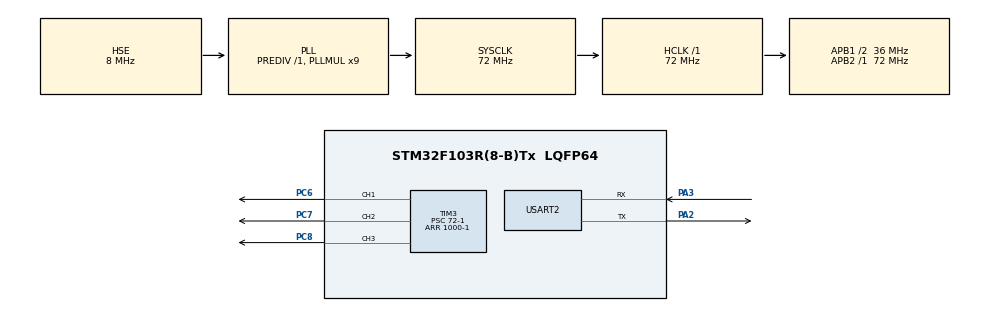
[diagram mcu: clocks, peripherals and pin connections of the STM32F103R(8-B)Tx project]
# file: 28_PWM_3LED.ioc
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Mcu.Family=STM32F1
Mcu.Name=STM32F103R(8-B)Tx
Mcu.Package=LQFP64
NVIC.PriorityGroup=NVIC_PRIORITYGROUP_4
PA2.Mode=Asynchronous
PA2.Signal=USART2_TX
PA3.Mode=Asynchronous
PA3.Signal=USART2_RX
PC14-OSC32_IN.Mode=LSE-External-Oscillator
PC14-OSC32_IN.Signal=RCC_OSC32_IN
PC15-OSC32_OUT.Mode=LSE-External-Oscillator
PC15-OSC32_OUT.Signal=RCC_OSC32_OUT
PC6.Signal=S_TIM3_CH1
PC7.Signal=S_TIM3_CH2
PC8.Signal=S_TIM3_CH3
PD0-OSC_IN.Mode=HSE-External-Clock-Source
PD0-OSC_IN.Signal=RCC_OSC_IN
PD1-OSC_OUT.Mode=HSE-External-Clock-Source
PD1-OSC_OUT.Signal=RCC_OSC_OUT
ProjectManager.HeapSize=0x200
ProjectManager.StackSize=0x400
ProjectManager.TargetToolchain=STM32CubeIDE
RCC.AHBFreq_Value=72000000
RCC.APB1CLKDivider=RCC_HCLK_DIV2
RCC.APB1Freq_Value=36000000
RCC.APB1TimFreq_Value=72000000
RCC.APB2Freq_Value=72000000
RCC.APB2TimFreq_Value=72000000
RCC.HCLKFreq_Value=72000000
RCC.PLLMUL=RCC_PLL_MUL9
RCC.PLLSourceVirtual=RCC_PLLSOURCE_HSE
RCC.SYSCLKFreq_VALUE=72000000
RCC.SYSCLKSource=RCC_SYSCLKSOURCE_PLLCLK
RCC.USBFreq_Value=72000000
SH.S_TIM3_CH1.0=TIM3_CH1,PWM Generation1 CH1
SH.S_TIM3_CH2.0=TIM3_CH2,PWM Generation2 CH2
SH.S_TIM3_CH3.0=TIM3_CH3,PWM Generation3 CH3
TIM3.AutoReloadPreload=TIM_AUTORELOAD_PRELOAD_ENABLE
TIM3.Channel-PWM\ Generation1\ CH1=TIM_CHANNEL_1
TIM3.Channel-PWM\ Generation2\ CH2=TIM_CHANNEL_2
TIM3.Channel-PWM\ Generation3\ CH3=TIM_CHANNEL_3
TIM3.Period=1000-1
TIM3.Prescaler=72-1
USART2.VirtualMode=VM_ASYNC
VP_TIM3_VS_ClockSourceINT.Mode=Internal
board=custom

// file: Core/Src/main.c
/* USER CODE BEGIN Header */
/**
  ******************************************************************************
  * @file           : main.c
  * @brief          : Main program body
  ******************************************************************************
  * @attention
  *
  * Copyright (c) 2023 STMicroelectronics.
  * All rights reserved.
  *
  * This software is licensed under terms that can be found in the LICENSE file
  * in the root directory of this software component.
  * If no LICENSE file comes with this software, it is provided AS-IS.
  *
  ******************************************************************************
  */
/* USER CODE END Header */
#include "main.h"

/* USER CODE BEGIN Includes */
#include <stdio.h>
#include <stdlib.h>
/* USER CODE END Includes */

TIM_HandleTypeDef htim3;

UART_HandleTypeDef huart2;

/* USER CODE BEGIN PV */
uint16_t led_arr, led_ccr1, led_ccr2, led_ccr3;
/* USER CODE END PV */

void SystemClock_Config(void);
static void MX_GPIO_Init(void);
static void MX_TIM3_Init(void);
static void MX_USART2_UART_Init(void);

/* USER CODE BEGIN 0 */
int __io_putchar(int ch) {
   HAL_UART_Transmit(&huart2, (uint8_t *)&ch, 1, 1000);
   if (ch == '\n') {
      HAL_UART_Transmit(&huart2, (uint8_t *)"\r", 1, 1000);
   }
   return ch;
}

void print123_pwm() {
  led_arr = __HAL_TIM_GET_AUTORELOAD(&htim3);
  led_ccr1 = __HAL_TIM_GET_COMPARE(&htim3, TIM_CHANNEL_1);
  led_ccr2 = __HAL_TIM_GET_COMPARE(&htim3, TIM_CHANNEL_2);
  led_ccr3 = __HAL_TIM_GET_COMPARE(&htim3, TIM_CHANNEL_3);
  printf("ARR : %d, CCR1 : %d, CCR2 : %d, CCR3 : %d\n\n", led_arr, led_ccr1, led_ccr2, led_ccr3);
}

/* USER CODE END 0 */

int main(void)
{

  /* MCU Configuration--------------------------------------------------------*/

  /* Reset of all peripherals, Initializes the Flash interface and the Systick. */
  HAL_Init();

  /* Configure the system clock */
  SystemClock_Config();

  /* Initialize all configured peripherals */
  MX_GPIO_Init();
  MX_TIM3_Init();
  MX_USART2_UART_Init();
  /* USER CODE BEGIN 2 */
  HAL_TIM_PWM_Start(&htim3, TIM_CHANNEL_3);
  HAL_TIM_PWM_Start(&htim3, TIM_CHANNEL_2);
  HAL_TIM_PWM_Start(&htim3, TIM_CHANNEL_1);
  /* USER CODE END 2 */

  /* Infinite loop */
  while (1)
  {
	  led_arr = rand()%10000;
	 __HAL_TIM_SET_AUTORELOAD(&htim3, led_arr);
	 uint16_t ch[] = {TIM_CHANNEL_1, TIM_CHANNEL_2, TIM_CHANNEL_3};
	 uint16_t ccr[] = {rand()%led_arr, rand()%led_arr, rand()%led_arr};
	 for(int i = 0; i <3; i++) {
	   __HAL_TIM_SET_COMPARE(&htim3, ch[i], ccr[i]);
	 }
	 print123_pwm();
	 HAL_Delay(1000);
  }
}

void SystemClock_Config(void)
{
  RCC_OscInitTypeDef RCC_OscInitStruct = {0};
  RCC_ClkInitTypeDef RCC_ClkInitStruct = {0};

  /** Initializes the RCC Oscillators according to the specified parameters
  * in the RCC_OscInitTypeDef structure.
  */
  RCC_OscInitStruct.OscillatorType = RCC_OSCILLATORTYPE_HSE;
  RCC_OscInitStruct.HSEState = RCC_HSE_BYPASS;
  RCC_OscInitStruct.HSEPredivValue = RCC_HSE_PREDIV_DIV1;
  RCC_OscInitStruct.HSIState = RCC_HSI_ON;
  RCC_OscInitStruct.PLL.PLLState = RCC_PLL_ON;
  RCC_OscInitStruct.PLL.PLLSource = RCC_PLLSOURCE_HSE;
  RCC_OscInitStruct.PLL.PLLMUL = RCC_PLL_MUL9;
  if (HAL_RCC_OscConfig(&RCC_OscInitStruct) != HAL_OK)
  {
    Error_Handler();
  }

  /** Initializes the CPU, AHB and APB buses clocks
  */
  RCC_ClkInitStruct.ClockType = RCC_CLOCKTYPE_HCLK|RCC_CLOCKTYPE_SYSCLK
                              |RCC_CLOCKTYPE_PCLK1|RCC_CLOCKTYPE_PCLK2;
  RCC_ClkInitStruct.SYSCLKSource = RCC_SYSCLKSOURCE_PLLCLK;
  RCC_ClkInitStruct.AHBCLKDivider = RCC_SYSCLK_DIV1;
  RCC_ClkInitStruct.APB1CLKDivider = RCC_HCLK_DIV2;
  RCC_ClkInitStruct.APB2CLKDivider = RCC_HCLK_DIV1;

  if (HAL_RCC_ClockConfig(&RCC_ClkInitStruct, FLASH_LATENCY_2) != HAL_OK)
  {
    Error_Handler();
  }
}

static void MX_TIM3_Init(void)
{

  TIM_ClockConfigTypeDef sClockSourceConfig = {0};
  TIM_MasterConfigTypeDef sMasterConfig = {0};
  TIM_OC_InitTypeDef sConfigOC = {0};

  htim3.Instance = TIM3;
  htim3.Init.Prescaler = 72-1;
  htim3.Init.CounterMode = TIM_COUNTERMODE_UP;
  htim3.Init.Period = 1000-1;
  htim3.Init.ClockDivision = TIM_CLOCKDIVISION_DIV1;
  htim3.Init.AutoReloadPreload = TIM_AUTORELOAD_PRELOAD_ENABLE;
  if (HAL_TIM_Base_Init(&htim3) != HAL_OK)
  {
    Error_Handler();
  }
  sClockSourceConfig.ClockSource = TIM_CLOCKSOURCE_INTERNAL;
  if (HAL_TIM_ConfigClockSource(&htim3, &sClockSourceConfig) != HAL_OK)
  {
    Error_Handler();
  }
  if (HAL_TIM_PWM_Init(&htim3) != HAL_OK)
  {
    Error_Handler();
  }
  sMasterConfig.MasterOutputTrigger = TIM_TRGO_RESET;
  sMasterConfig.MasterSlaveMode = TIM_MASTERSLAVEMODE_DISABLE;
  if (HAL_TIMEx_MasterConfigSynchronization(&htim3, &sMasterConfig) != HAL_OK)
  {
    Error_Handler();
  }
  sConfigOC.OCMode = TIM_OCMODE_PWM1;
  sConfigOC.Pulse = 0;
  sConfigOC.OCPolarity = TIM_OCPOLARITY_HIGH;
  sConfigOC.OCFastMode = TIM_OCFAST_DISABLE;
  if (HAL_TIM_PWM_ConfigChannel(&htim3, &sConfigOC, TIM_CHANNEL_1) != HAL_OK)
  {
    Error_Handler();
  }
  if (HAL_TIM_PWM_ConfigChannel(&htim3, &sConfigOC, TIM_CHANNEL_2) != HAL_OK)
  {
    Error_Handler();
  }
  if (HAL_TIM_PWM_ConfigChannel(&htim3, &sConfigOC, TIM_CHANNEL_3) != HAL_OK)
  {
    Error_Handler();
  }
  HAL_TIM_MspPostInit(&htim3);

}

static void MX_USART2_UART_Init(void)
{

  huart2.Instance = USART2;
  huart2.Init.BaudRate = 115200;
  huart2.Init.WordLength = UART_WORDLENGTH_8B;
  huart2.Init.StopBits = UART_STOPBITS_1;
  huart2.Init.Parity = UART_PARITY_NONE;
  huart2.Init.Mode = UART_MODE_TX_RX;
  huart2.Init.HwFlowCtl = UART_HWCONTROL_NONE;
  huart2.Init.OverSampling = UART_OVERSAMPLING_16;
  if (HAL_UART_Init(&huart2) != HAL_OK)
  {
    Error_Handler();
  }

}

static void MX_GPIO_Init(void)
{

  /* GPIO Ports Clock Enable */
  __HAL_RCC_GPIOC_CLK_ENABLE();
  __HAL_RCC_GPIOD_CLK_ENABLE();
  __HAL_RCC_GPIOA_CLK_ENABLE();

}

void Error_Handler(void)
{
  __disable_irq();
  while (1)
  {
  }
}
